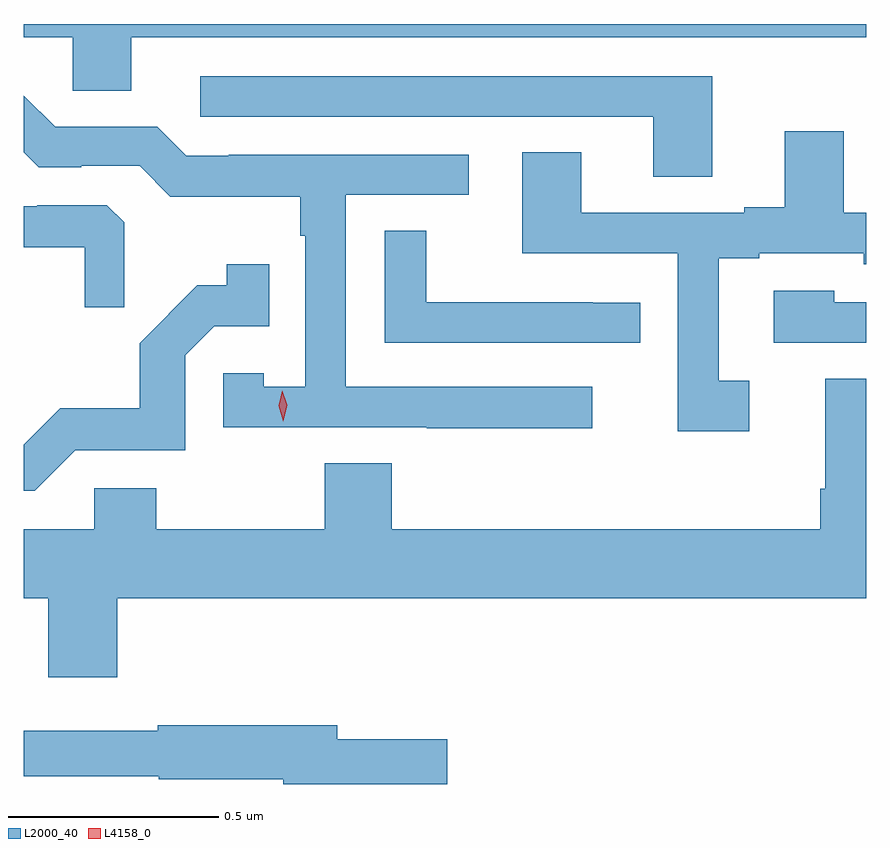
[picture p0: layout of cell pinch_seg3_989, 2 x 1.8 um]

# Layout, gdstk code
import gdstk
lib = gdstk.Library(unit=1e-6, precision=1e-09)
def P(c, l, *ps):  # polygons
    for p in ps: c.add(gdstk.Polygon(p, *l))
L2000_40 = (2000, 40)
L4158_0 = (4158, 0)

pinch_seg3_989 = lib.new_cell('pinch_seg3_989')
P(pinch_seg3_989, L2000_40, [(476.893,748.868),(478.638,748.868),(478.638,748.9),(476.638,748.9),(476.638,748.868),(476.754,748.868),(476.754,748.741),(476.893,748.741)],
  [(478.273,748.776),(477.057,748.776),(477.057,748.68),(478.133,748.68),(478.133,748.537),(478.273,748.537)],
  [(477.988,748.038),(477.402,748.038),(477.402,748.494),(477.694,748.494),(477.694,748.59),(477.124,748.59),(477.124,748.587),(477.024,748.587),(476.955,748.656),(476.712,748.656),(476.638,748.73),(476.638,748.595),(476.673,748.56),(476.774,748.56),(476.774,748.563),(476.913,748.563),(476.986,748.49),(477.294,748.49),(477.294,748.397),(477.306,748.397),(477.306,748.039),(477.207,748.039),(477.207,748.071),(477.111,748.071),(477.111,747.942),(477.595,747.942),(477.595,747.94),(477.988,747.94)],
  [(478.36,748.053),(478.288,748.053),(478.288,748.344),(478.384,748.344),(478.384,748.356),(478.632,748.356),(478.632,748.329),(478.638,748.329),(478.638,748.452),(478.585,748.452),(478.585,748.645),(478.445,748.645),(478.445,748.465),(478.349,748.465),(478.349,748.452),(477.961,748.452),(477.961,748.595),(477.821,748.595),(477.821,748.356),(478.191,748.356),(478.191,747.933),(478.36,747.933)],
  [(476.876,748.429),(476.835,748.47),(476.67,748.47),(476.67,748.467),(476.638,748.467),(476.638,748.37),(476.782,748.37),(476.782,748.227),(476.876,748.227)],
  [(478.102,748.238),(477.989,748.238),(477.989,748.239),(477.594,748.239),(477.594,748.409),(477.495,748.409),(477.495,748.143),(478.102,748.143)],
  [(476.76,747.888),(477.021,747.888),(477.021,748.113),(477.09,748.182),(477.221,748.182),(477.221,748.33),(477.12,748.33),(477.12,748.28),(477.05,748.28),(476.913,748.142),(476.913,747.987),(476.724,747.987),(476.638,747.901),(476.638,747.792),(476.664,747.792)],
  [(478.638,748.239),(478.563,748.239),(478.563,748.267),(478.419,748.267),(478.419,748.143),(478.638,748.143)],
  [(478.638,748.057),(478.541,748.057),(478.541,747.796),(478.529,747.796),(478.529,747.7),(477.512,747.7),(477.512,747.857),(477.352,747.857),(477.352,747.7),(476.952,747.7),(476.952,747.798),(476.805,747.798),(476.805,747.7),(476.638,747.7),(476.638,747.536),(476.696,747.536),(476.696,747.348),(476.86,747.348),(476.86,747.536),(478.638,747.536)],
  [(477.643,747.201),(477.382,747.201),(477.382,747.235),(476.956,747.235),(476.956,747.222),(476.638,747.222),(476.638,747.114),(476.958,747.114),(476.958,747.106),(477.254,747.106),(477.254,747.095),(477.643,747.095)])
P(pinch_seg3_989, L4158_0, [(477.254,747.957),(477.254,747.957),(477.243,747.993),(477.251,748.029),(477.252,748.029),(477.252,748.029),(477.263,747.994),(477.254,747.957)])

lib.write_gds('pinch_seg3_989.gds')
